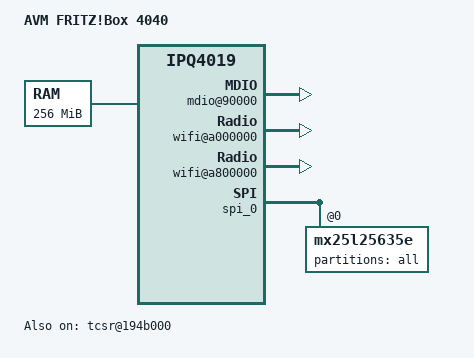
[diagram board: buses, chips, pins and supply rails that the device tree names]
/* Copyright (c) 2015, The Linux Foundation. All rights reserved.
 *
 * Permission to use, copy, modify, and/or distribute this software for any
 * purpose with or without fee is hereby granted, provided that the above
 * copyright notice and this permission notice appear in all copies.
 *
 * THE SOFTWARE IS PROVIDED "AS IS" AND THE AUTHOR DISCLAIMS ALL WARRANTIES
 * WITH REGARD TO THIS SOFTWARE INCLUDING ALL IMPLIED WARRANTIES OF
 * MERCHANTABILITY AND FITNESS. IN NO EVENT SHALL THE AUTHOR BE LIABLE FOR
 * ANY SPECIAL, DIRECT, INDIRECT, OR CONSEQUENTIAL DAMAGES OR ANY DAMAGES
 * WHATSOEVER RESULTING FROM LOSS OF USE, DATA OR PROFITS, WHETHER IN AN
 * ACTION OF CONTRACT, NEGLIGENCE OR OTHER TORTIOUS ACTION, ARISING OUT OF
 * OR IN CONNECTION WITH THE USE OR PERFORMANCE OF THIS SOFTWARE.
 *
 */

#include "qcom-ipq4019-ap.dk01.1.dtsi"
#include "qcom-ipq4019-bus.dtsi"
#include <dt-bindings/gpio/gpio.h>
#include <dt-bindings/input/input.h>
#include <dt-bindings/soc/qcom,tcsr.h>

/ {
	model = "AVM FRITZ!Box 4040";
	compatible = "avm,fritzbox-4040", "qcom,ipq4019";

	memory {
		device_type = "memory";
		reg = <0x80000000 0x10000000>;
	};

	aliases {
/*		led-boot = &power;
		led-failsafe = &power;
		led-running = &power;
		led-upgrade = &power; */
	};

	reserved-memory {
		#address-cells = <0x1>;
		#size-cells = <0x1>;
		ranges;

		rsvd1@87000000 {
			reg = <0x87000000 0x0500000>;
			no-map;
		};

		wifi_dump@87500000 {
			reg = <0x87500000 0x600000>;
			no-map;
		};

		rsvd2@87B00000 {
			reg = <0x87b00000 0x500000>;
			no-map;
		};
	};

	soc {

		pinctrl@0x01000000 {
/*
			enable-usb3-power {
				gpio-hog;
				line-name = "enable USB3 power";
				gpios = <0xcd GPIO_ACTIVE_LOW>;
			output-low;
			};

			enable-usb2-power {
				gpio-hog;
				line-name = "enable USB3 power";
				gpios = <0xce GPIO_ACTIVE_LOW>;
				output-low;
			};
*/
		};

		tcsr@194b000 {
			/* select hostmode */
			compatible = "qcom,tcsr";
			reg = <0x194b000 0x100>;
			qcom,usb-hsphy-mode-select = <TCSR_USB_HSPHY_HOST_MODE>;
			status = "ok";
		};

		ess_tcsr@1953000 {
			compatible = "qcom,tcsr";
			reg = <0x1953000 0x1000>;
			qcom,ess-interface-select = <TCSR_ESS_PSGMII>;
		};


		tcsr@1949000 {
			compatible = "qcom,tcsr";
			reg = <0x1949000 0x100>;
			qcom,wifi_glb_cfg = <TCSR_WIFI_GLB_CFG>;
		};

		tcsr@1957000 {
			compatible = "qcom,tcsr";
			reg = <0x1957000 0x100>;
			qcom,wifi_noc_memtype_m0_m2 = <TCSR_WIFI_NOC_MEMTYPE_M0_M2>;
		};

		counter@4a1000 {
			compatible = "qcom,qca-gcnt";
			reg = <0x4a1000 0x4>;
		};

		mdio@90000 {
			status = "okay";
		};

		ess-switch@c000000 {
			status = "okay";
		};

		ess-psgmii@98000 {
			status = "okay";
		};

		edma@c080000 {
			status = "okay";
		};

		wifi@a000000 {
			status = "okay";
		};

		wifi@a800000 {
			status = "okay";
		};

		cryptobam: dma@8e04000 {
			status = "okay";
		};

		crypto@8e3a000 {
			status = "okay";
		};
	};
/*
	gpio-keys {
		compatible = "gpio-keys";

		wlan {
			label = "wlan";
			gpios = <&tlmm 0x3a GPIO_ACTIVE_LOW>;
			linux,code = <KEY_RFKILL>;
		};

		wps {
			label = "wps";
			gpios = <&tlmm 0x3f GPIO_ACTIVE_LOW>;
			linux,code = <KEY_WPS_BUTTON>;
		};
	};

	gpio-leds {
		compatible = "gpio-leds";

		power: status {
			label = "fritz4040:green:status";
			gpios = <&tlmm 0xcb GPIO_ACTIVE_HIGH>;
		};

		wan {
			label = "fritz4040:green:wan";
			gpios = <&tlmm 0xca GPIO_ACTIVE_HIGH>;
		};

		info {
			label = "fritz4040:green:info";
			gpios = <&tlmm 0xd1 GPIO_ACTIVE_HIGH>;
		};

		flash: info_red {
			label = "fritz4040:red:info";
			gpios = <&tlmm 0xc9 GPIO_ACTIVE_HIGH>;
		};

		wlan {
			label = "fritz4040:green:wlan";
			gpios = <&tlmm 0xc8 GPIO_ACTIVE_HIGH>;
		};

		lan {
			label = "fritz4040:green:lan";
			gpios = <&tlmm 0xcc GPIO_ACTIVE_HIGH>;
		};
	};
*/
};


&spi_0 { /* BLSP1 QUP1 */
	status = "ok";

	mx25l25635e@0 {
		status = "okay";

		partitions {
			compatible = "fixed-partitions";
			#address-cells = <1>;
			#size-cells = <1>;

			partition0@0 {
				label = "all";
				reg = <0x00000000 0x10000000>;
				read-only; /* for now */
			};
		};

	};
};
